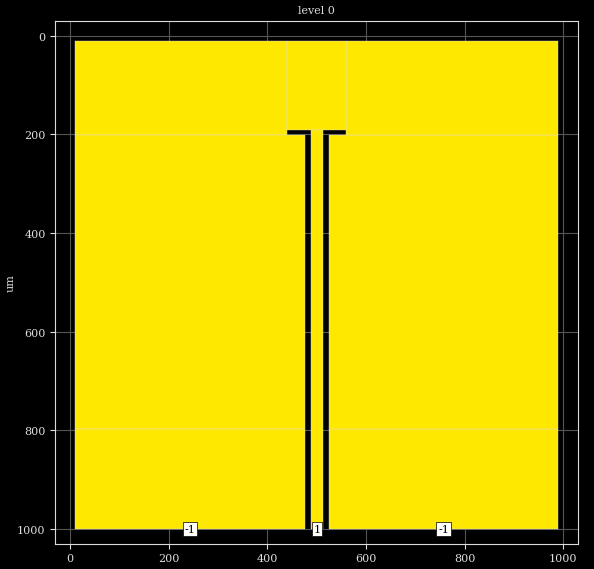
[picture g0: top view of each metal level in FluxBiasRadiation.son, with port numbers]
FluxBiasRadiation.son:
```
FTYP SONPROJ 15 ! Sonnet Project File
VER 16.52
HEADER
LIC calt2.2.43068 b6ae2bd1257f DESKTOP-SL82IK9 Michael
DAT 06/21/2016 18:50:06
BUILT_BY_CREATED Sonnet Matlab 06/21/2016 18:46:26
BUILT_BY_SAVED xgeom 16.52
MDATE 06/21/2016 18:50:06
HDATE 06/21/2016 18:49:31
END HEADER
DIM
FREQ GHZ
IND NH
LNG UM
ANG DEG
CON /OH
CAP PF
RES OH
END DIM
FREQ
ABS 0.1 10.0 
STEP 0.1
END FREQ
CONTROL
ABS
OPTIONS  -d 
SPEED 0
CACHE_ABS 1
TARG_ABS 300
Q_ACC N
END CONTROL
GEO
DRP1 LEFT FIX 10
DRP1 RIGHT FIX 10
TMET "Lossless" 0 SUP 0 0 0 0
BMET "Lossless" 0 SUP 0 0 0 0
BOX 1 1000 1000 2000 2000 20 0
      1000 1 1 0 0 0 0 "Air"
      500 11.9 1 5e-006 0 0 0 "Silicon (low T)"
LORGN 0 1000 U 
POR1 STD
POLY 13 1
2
-1 50 0 0 0 243.0000147 999.9999567 
POR1 STD
POLY 14 1
2
-1 50 0 0 0 756.9999853 999.9999945 
POR1 STD
POLY 19 1
2
1 50 0 0 0 500 1000.000025 
NUM 8
0 5 -1 N 11 1 1 100 100 0 0 0 Y
10 10
440 10
440 202
10 202
10 10
END
0 5 -1 N 12 1 1 100 100 0 0 0 Y
10 202
476.0000579 202
476.0000579 798
10 798
10 202
END
0 5 -1 N 13 1 1 100 100 0 0 0 Y
10 798
476.0000294 798
476.0000294 999.9999567
10 999.9999567
10 798
END
0 5 -1 N 14 1 1 100 100 0 0 0 Y
523.9999706 798
990 798
990 999.9999945
523.9999706 999.9999945
523.9999706 798
END
0 5 -1 N 15 1 1 100 100 0 0 0 Y
524.0000321 202
990 202
990 797.9999596
524.0000321 797.9999596
524.0000321 202
END
0 5 -1 N 16 1 1 100 100 0 0 0 Y
560 10
990 10
990 202
560 202
560 10
END
0 5 -1 N 17 1 1 100 100 0 0 0 Y
440 10
560 10
560 190.9999889
440 190.9999889
440 10
END
0 5 -1 N 19 1 1 100 100 0 0 0 Y
488 190.9999889
512 190.9999889
512 1000.000025
488 1000.000025
488 190.9999889
END
END GEO
OPT
MAX 100
VARS
END
END OPT
VARSWP
END VARSWP
FILEOUT
TS D Y RectCap.s1p IC 15 Y RI R 50.00000
END FILEOUT
```
